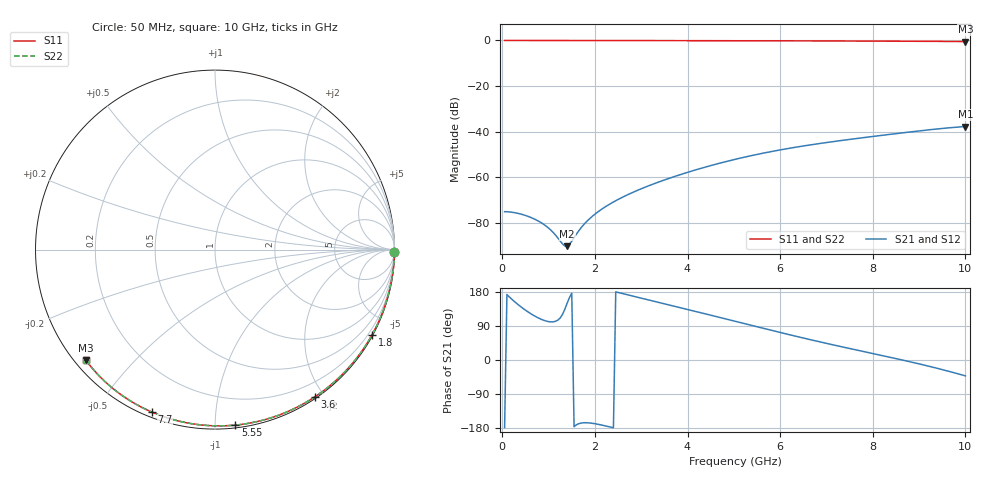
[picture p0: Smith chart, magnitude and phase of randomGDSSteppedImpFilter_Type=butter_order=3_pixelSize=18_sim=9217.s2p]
! freq	dB(S11)	phase(S11)	dB(S12)	phase(S12)
!  dB(S21)	phase(S21)	dB(S22)	phase(S22)
!S-par simulation data
#  GHz  S  DB  R 50
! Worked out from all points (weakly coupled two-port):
!   200 points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, 50 MHz to 10 GHz, reference 50 ohm
!   highest |S21| = -37.78 dB at 10 GHz (marker M1); lowest = -90.3 dB at 1.4 GHz (marker M2)
!   lowest |S11| = -0.5 dB at 10 GHz (marker M3), VSWR 36.82, Z = 1.54 - j18.4 ohm
!   |S11| at or under -10 dB: nowhere
!   |S22| runs from -0.5 to 0.0 dB; largest |S21 - S12| = 0
!   S11 on the Smith chart (normalised r, x): 50 MHz: open; 1.8 GHz: 0.03, -3.92; 3.6 GHz: 0.02, -1.89; 5.55 GHz: 0.02, -1.12; 7.7 GHz: 0.02, -0.68; 10 GHz: 0.03, -0.37
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0.05  -0.00 -0.8  -75.18 -178.6  -75.18 -178.6  -0.00 -0.8
0.25  -0.00 -4.0  -75.54 155.5  -75.54 155.5  -0.00 -4.0
0.45  -0.01 -7.3  -76.50 135.9  -76.50 135.9  -0.01 -7.3
0.65  -0.01 -10.5  -77.99 119.5  -77.99 119.5  -0.01 -10.5
0.85  -0.02 -13.7  -80.14 106.9  -80.14 106.9  -0.02 -13.7
1.4  -0.03 -22.4  -90.31 149.7  -90.31 149.7  -0.03 -22.4
1.75  -0.04 -27.8  -81.06 -165.7  -81.06 -165.7  -0.04 -27.8
1.8  -0.04 -28.6  -79.95 -165.5  -79.95 -165.5  -0.04 -28.6
1.95  -0.04 -30.9  -77.09 -167.1  -77.09 -167.1  -0.04 -30.9
2.1  -0.04 -33.3  -74.73 -170.4  -74.73 -170.4  -0.04 -33.3
2.45  -0.05 -38.7  -70.34 179.7  -70.34 179.7  -0.05 -38.7
2.85  -0.06 -44.7  -66.41 167.6  -66.41 167.6  -0.06 -44.7
3.4  -0.07 -52.9  -61.97 151.1  -61.97 151.1  -0.07 -52.9
3.6  -0.08 -55.9  -60.54 145.2  -60.54 145.2  -0.08 -55.9
4.3  -0.09 -66.0  -56.08 124.3  -56.08 124.3  -0.09 -66.0
5.05  -0.12 -76.5  -52.08 101.6  -52.08 101.6  -0.12 -76.5
5.55  -0.14 -83.4  -49.82 86.3  -49.82 86.3  -0.14 -83.4
6.7  -0.19 -98.6  -45.70 52.3  -45.70 52.3  -0.19 -98.6
7.7  -0.25 -111.3  -42.91 25.0  -42.91 25.0  -0.25 -111.3
8.35  -0.30 -119.3  -41.27 7.8  -41.27 7.8  -0.30 -119.3
9.2  -0.38 -129.8  -39.26 -16.1  -39.26 -16.1  -0.38 -129.8
10  -0.47 -139.6  -37.78 -41.9  -37.78 -41.9  -0.47 -139.6
